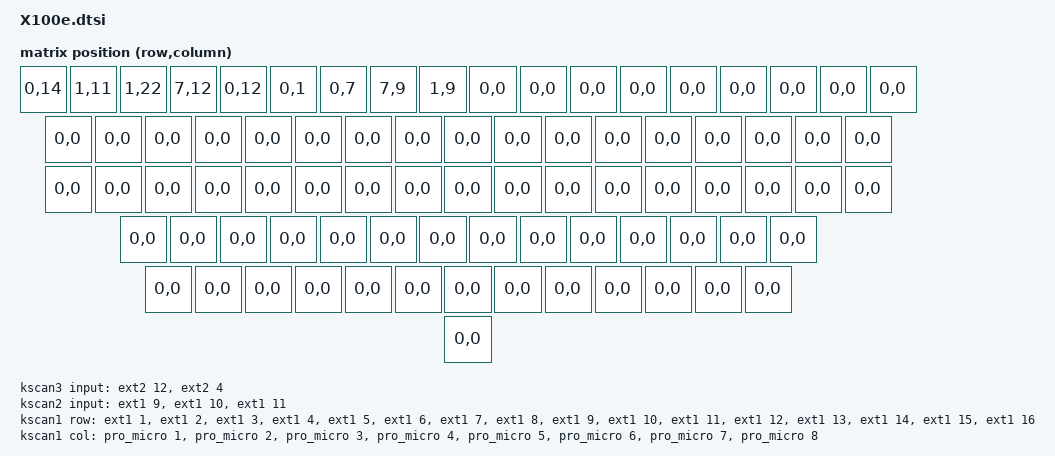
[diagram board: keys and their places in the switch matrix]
#include <dt-bindings/zmk/matrix_transform.h>

/ {
    chosen {
        zmk,kscan = &kscan0;
        zmk,matrix-transform = &default_transform;
        zephyr,display = &nice_view;
    };

    kscan0: kscan_composite {
        compatible = "zmk,kscan-composite";

        matrix {
            kscan = <&kscan1>;
        };

        direct {
            kscan = <&kscan2>;
            row-offset = <10>;
        };

        capslock {
            kscan = <&kscan3>;
            row-offset = <11>;
        };
    };

    kscan3: kscan_sp3t_toggle {
        compatible = "zmk,kscan-gpio-direct";
        toggle-mode;

        input-gpios
        = <&ext2 12 (GPIO_ACTIVE_LOW | GPIO_PULL_UP)>
        , <&ext2 4 GPIO_ACTIVE_LOW>
        ;
    };

    kscan2: kscan_direct {
        compatible = "zmk,kscan-gpio-direct";
        wakeup-source;

        input-gpios
            = <&ext1 9 (GPIO_ACTIVE_LOW | GPIO_PULL_UP)>
            , <&ext1 10 (GPIO_ACTIVE_LOW | GPIO_PULL_UP)>
            , <&ext1 11 (GPIO_ACTIVE_LOW | GPIO_PULL_UP)>
            ;

    };

    kscan1: kscan_matrix {
        compatible = "zmk,kscan-gpio-matrix";
        diode-direction = "row2col";
        col-gpios
            = <&pro_micro 1 GPIO_ACTIVE_LOW> # 19 0
            , <&pro_micro 2 GPIO_ACTIVE_LOW> # 22 1
            , <&pro_micro 3 GPIO_ACTIVE_LOW> # 23 2
            , <&pro_micro 4 GPIO_ACTIVE_LOW> # 25 3
            , <&pro_micro 5 GPIO_ACTIVE_LOW> # 26 4
            , <&pro_micro 6 GPIO_ACTIVE_LOW> # 28 5
            , <&pro_micro 7 GPIO_ACTIVE_LOW> # 29 6
            , <&pro_micro 8 GPIO_ACTIVE_LOW> # 30 7
            ;
        row-gpios
            = <&ext1 1 (GPIO_ACTIVE_LOW | GPIO_PULL_UP)> #07 0
            , <&ext1 2 (GPIO_ACTIVE_LOW | GPIO_PULL_UP)> #08 1
            , <&ext1 3 (GPIO_ACTIVE_LOW | GPIO_PULL_UP)> #09 2
            , <&ext1 4 (GPIO_ACTIVE_LOW | GPIO_PULL_UP)> #10 3
            , <&ext1 5 (GPIO_ACTIVE_LOW | GPIO_PULL_UP)> #11 4
            , <&ext1 6 (GPIO_ACTIVE_LOW | GPIO_PULL_UP)> #12 5
            , <&ext1 7 (GPIO_ACTIVE_LOW | GPIO_PULL_UP)> #13 6
            , <&ext1 8 (GPIO_ACTIVE_LOW | GPIO_PULL_UP)> #14 7
            , <&ext1 9 (GPIO_ACTIVE_LOW | GPIO_PULL_UP)> #15 8
            , <&ext1 10 (GPIO_ACTIVE_LOW | GPIO_PULL_UP)> #16 9
            , <&ext1 11 (GPIO_ACTIVE_LOW | GPIO_PULL_UP)> #17 10
            , <&ext1 12 (GPIO_ACTIVE_LOW | GPIO_PULL_UP)> #18 11
            , <&ext1 13 (GPIO_ACTIVE_LOW | GPIO_PULL_UP)> #20 12
            , <&ext1 14 (GPIO_ACTIVE_LOW | GPIO_PULL_UP)> #21 13
            , <&ext1 15 (GPIO_ACTIVE_LOW | GPIO_PULL_UP)> #24 14
            , <&ext1 16 (GPIO_ACTIVE_LOW | GPIO_PULL_UP)> #27 15
            ;

    };



    default_transform: matrix_transform {
        compatible = "zmk,matrix-transform";
        rows = <8>;
        columns = <16>;

        map = <
        RC(0,14)    RC(1,11)    RC(1,22)    RC(7,12)    RC(0,12)    RC(0,1)     RC(0,7)     RC(7,9)     RC(1,9)     RC(0,0)     RC(0,0)     RC(0,0)     RC(0,0)     RC(0,0)     RC(0,0)     RC(0,0)     RC(0,0)     RC(0,0)
        RC(0,0)     RC(0,0)     RC(0,0)     RC(0,0)     RC(0,0)     RC(0,0)     RC(0,0)     RC(0,0)     RC(0,0)     RC(0,0)     RC(0,0)    RC(0,0)     RC(0,0)                 RC(0,0)     RC(0,0)     RC(0,0)     RC(0,0)
        RC(0,0)    RC(0,0)     RC(0,0)     RC(0,0)     RC(0,0)     RC(0,0)     RC(0,0)     RC(0,0)     RC(0,0)     RC(0,0)    RC(0,0)     RC(0,0)     RC(0,0)                 RC(0,0)     RC(0,0)     RC(0,0)     RC(0,0)
        RC(0,0)    RC(0,0)     RC(0,0)     RC(0,0)     RC(0,0)     RC(0,0)     RC(0,0)     RC(0,0)     RC(0,0)     RC(0,0)     RC(0,0)                                         RC(0,0)     RC(0,0)     RC(0,0)
        RC(0,0)    RC(0,0)    RC(0,0)    RC(0,0)                             RC(0,0)                 RC(0,0)     RC(0,0)     RC(0,0)     RC(0,0)     RC(0,0)                 RC(0,0)                 RC(0,0)     RC(0,0)
        RC(0,0)
        >;
    };

};
